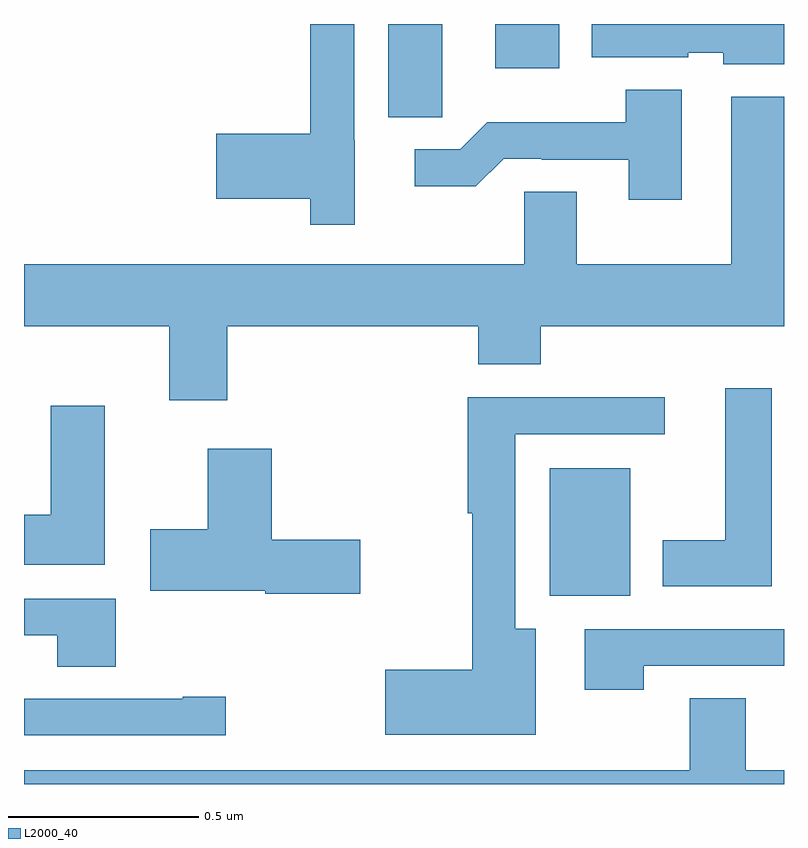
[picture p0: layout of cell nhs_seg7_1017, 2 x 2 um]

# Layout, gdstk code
import gdstk
lib = gdstk.Library(unit=1e-6, precision=1e-09)
def R(c, l, rs):  # rectangles x0, y0, x1, y1
    for r in rs: c.add(gdstk.rectangle(r[:2], r[2:], *l))
def P(c, l, *ps):  # polygons
    for p in ps: c.add(gdstk.Polygon(p, *l))
L2000_40 = (2000, 40)

nhs_seg7_1017 = lib.new_cell('nhs_seg7_1017')
R(nhs_seg7_1017, L2000_40, [(125.384,1078.496,125.596,1078.831), (125.24,1079.883,125.409,1080)])
P(nhs_seg7_1017, L2000_40, [(125.1,1079.866),(125.101,1079.866),(125.101,1080),(124.958,1080),(124.958,1079.755),(125.1,1079.755)],
  [(126,1080),(125.494,1080),(125.494,1079.912),(125.748,1079.912),(125.748,1079.924),(125.84,1079.924),(125.84,1079.894),(126,1079.894)],
  [(124.87,1079.694),(124.869,1079.694),(124.869,1080),(124.753,1080),(124.753,1079.711),(124.506,1079.711),(124.506,1079.54),(124.753,1079.54),(124.753,1079.472),(124.87,1079.472)],
  [(125.731,1079.827),(125.584,1079.827),(125.584,1079.741),(125.219,1079.741),(125.148,1079.67),(125.028,1079.67),(125.028,1079.573),(125.189,1079.573),(125.262,1079.646),(125.362,1079.646),(125.362,1079.643),(125.591,1079.643),(125.591,1079.538),(125.731,1079.538)],
  [(124.535,1079.204),(125.195,1079.204),(125.195,1079.105),(125.36,1079.105),(125.36,1079.204),(126,1079.204),(126,1079.809),(125.861,1079.809),(125.861,1079.368),(125.455,1079.368),(125.455,1079.558),(125.316,1079.558),(125.316,1079.368),(124,1079.368),(124,1079.204),(124.382,1079.204),(124.382,1079.01),(124.535,1079.01)],
  [(125.968,1079.041),(125.846,1079.041),(125.846,1078.642),(125.681,1078.642),(125.681,1078.52),(125.968,1078.52)],
  [(125.347,1078.408),(125.293,1078.408),(125.293,1078.92),(125.686,1078.92),(125.686,1079.018),(125.168,1079.018),(125.168,1078.713),(125.18,1078.713),(125.18,1078.301),(124.95,1078.301),(124.95,1078.13),(125.347,1078.13)],
  [(124.213,1078.996),(124.07,1078.996),(124.07,1078.708),(124,1078.708),(124,1078.577),(124.213,1078.577)],
  [(124.885,1078.643),(124.652,1078.643),(124.652,1078.882),(124.484,1078.882),(124.484,1078.671),(124.332,1078.671),(124.332,1078.508),(124.635,1078.508),(124.635,1078.501),(124.885,1078.501)],
  [(124.241,1078.488),(124,1078.488),(124,1078.392),(124.088,1078.392),(124.088,1078.309),(124.241,1078.309)],
  [(125.631,1078.311),(126,1078.311),(126,1078.407),(125.475,1078.407),(125.475,1078.248),(125.631,1078.248)],
  [(124.531,1078.229),(124.418,1078.229),(124.418,1078.224),(124,1078.224),(124,1078.128),(124.531,1078.128)],
  [(126,1078.036),(125.899,1078.036),(125.899,1078.226),(125.752,1078.226),(125.752,1078.036),(124,1078.036),(124,1078),(126,1078)])

lib.write_gds('nhs_seg7_1017.gds')
